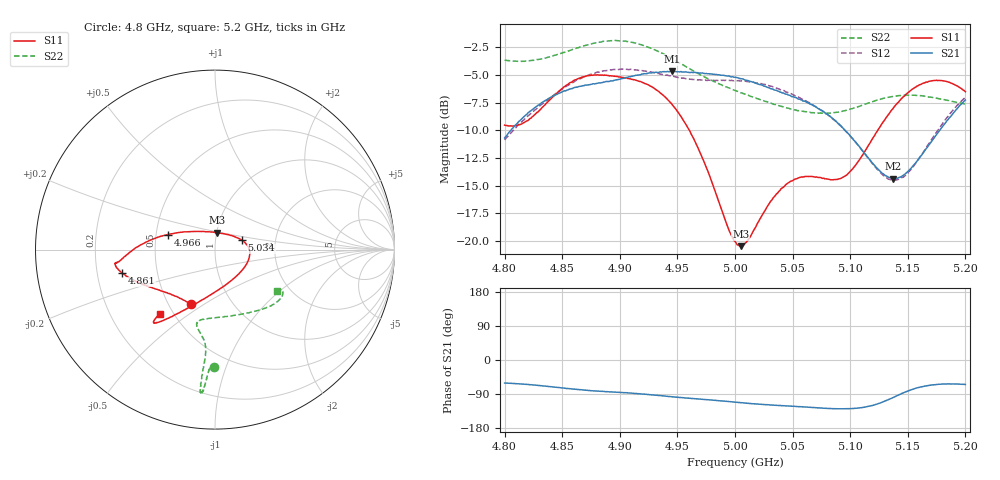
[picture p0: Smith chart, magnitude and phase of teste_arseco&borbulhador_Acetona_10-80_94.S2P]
! Network Analyzer HP8722D
! Hewlett-Packard
! Data name: Linha & Wilkinson
! Saver's name: Rodrigo Anjos
! Comments: Teste da utilização de aquisição
! continua pelo VNA HP8722D
! Time and date: 17/4/2025 15:08
!  Frequency  S11  S21  S12  S22
# HZ  S  MA R 50
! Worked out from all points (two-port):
!   401 points, 4.8 GHz to 5.2 GHz, reference 50 ohm
!   highest |S21| = -4.67 dB at 4.945 GHz (marker M1); lowest = -14.4 dB at 5.137 GHz (marker M2)
!   |S21| within 3 dB of the highest: 4.83 GHz to 5.066 GHz (236.3 MHz wide, 4.78 % of centre); 5.196048 GHz to end of sweep
!   lowest |S11| = -20.5 dB at 5.005 GHz (marker M3), VSWR 1.21, Z = 50.4 + j9.55 ohm
!   |S11| at or under -10 dB: 4.96 GHz to 5.124 GHz (163.6 MHz wide, 3.24 % of centre)
!   |S22| runs from -8.5 to -1.9 dB; largest |S21 - S12| = 0.88
!   S11 on the Smith chart (normalised r, x): 4.8 GHz: 0.64, -0.44; 4.861 GHz: 0.31, -0.11; 4.966 GHz: 0.58, +0.10; 5.034 GHz: 1.34, +0.14; 5.2 GHz: 0.42, -0.39
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4.8e9  0.3335 -113.7  0.2918 -60.9  0.2858 -175.2  0.6562 -90.2
4.819e9  0.3482 -133.8  0.3725 -64.3  0.3609 -173.9  0.6508 -91.7
4.861e9  0.534 -165.7  0.4936 -77.1  0.5268 -177.0  0.7378 -94.0
4.867e9  0.549 -168.0  0.5011 -78.9  0.5442 -178.2  0.7568 -94.3
4.899e9  0.551 -172.6  0.5369 -85.4  0.5951 175.2  0.8019 -95.6
4.934e9  0.4725 -178.5  0.5777 -93.7  0.571 171.7  0.7153 -95.9
4.945e9  0.4165 176.4  0.5838 -97.0  0.5553 171.8  0.6685 -95.7
4.966e9  0.2764 162.3  0.5757 -102.4  0.5353 173.7  0.578 -95.1
5e9  0.09961 99.9  0.5488 -111.4  0.5318 175.9  0.4784 -99.3
5.005e9  0.09473 82.1  0.5414 -112.7  0.5276 175.9  0.4671 -100.5
5.012e9  0.102 59.1  0.5286 -114.6  0.5239 175.8  0.4541 -101.9
5.034e9  0.1581 19.4  0.4809 -119.4  0.4944 174.6  0.4137 -103.5
5.05e9  0.1872 3.2  0.4487 -122.0  0.4595 173.9  0.3943 -99.5
5.067e9  0.1956 -14.9  0.4123 -125.3  0.4142 173.5  0.3796 -90.6
5.085e9  0.1891 -43.1  0.3565 -128.4  0.3548 173.6  0.38 -76.8
5.097e9  0.1986 -67.6  0.3101 -128.8  0.3098 174.5  0.3899 -67.1
5.134e9  0.3778 -117.0  0.1936 -103.6  0.1897 -156.4  0.4467 -43.0
5.137e9  0.3953 -118.9  0.1915 -99.4  0.1885 -151.7  0.4501 -41.7
5.15e9  0.4667 -124.7  0.2058 -82.1  0.2025 -131.8  0.4556 -36.8
5.17e9  0.5282 -129.3  0.2784 -66.3  0.284 -112.4  0.4464 -32.1
5.184e9  0.5243 -130.5  0.3494 -63.1  0.3609 -107.4  0.4324 -31.2
5.2e9  0.4724 -130.9  0.4331 -64.7  0.4459 -106.7  0.4154 -33.5
